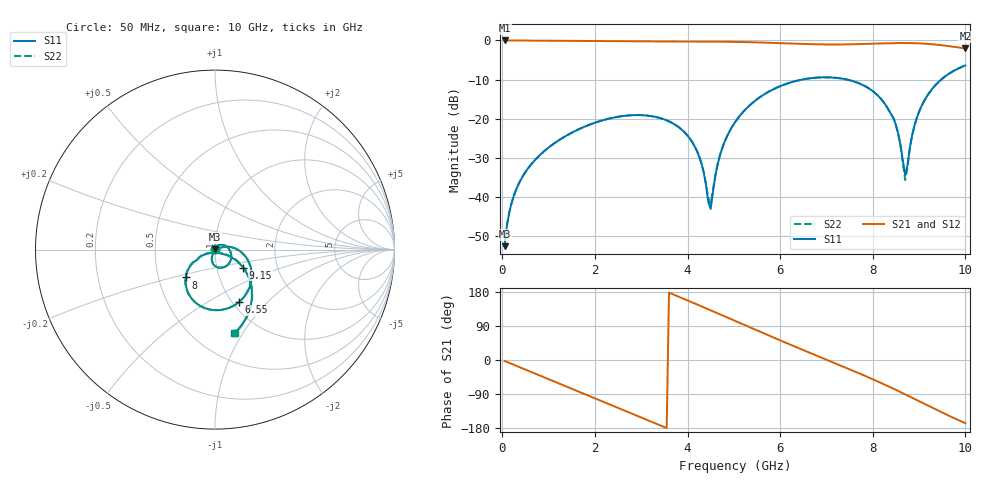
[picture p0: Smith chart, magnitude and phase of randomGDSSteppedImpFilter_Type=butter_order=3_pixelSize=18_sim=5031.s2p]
! freq	dB(S11)	phase(S11)	dB(S12)	phase(S12)
!  dB(S21)	phase(S21)	dB(S22)	phase(S22)
!S-par simulation data
#  GHz  S  DB  R 50
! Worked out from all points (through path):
!   200 points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, 50 MHz to 10 GHz, reference 50 ohm
!   highest |S21| = 0.00 dB at 50 MHz (marker M1); lowest = -2.0 dB at 10 GHz (marker M2)
!   group delay of S21, straight-line fit = 145 ps
!   lowest |S11| = -52.6 dB at 50 MHz (marker M3), VSWR 1.00, Z = 50.1 + j0.227 ohm
!   |S11| at or under -10 dB: start of sweep to 6.478 GHz; 7.441 GHz to 9.479 GHz (2.038 GHz wide, 24.1 % of centre)
!   |S22| runs from -52.6 to -6.4 dB; largest |S21 - S12| = 0
!   S11 on the Smith chart (normalised r, x): 50 MHz: 1.00, +0.00; 6.55 GHz: 1.07, -0.70; 8 GHz: 0.69, -0.23; 9.15 GHz: 1.34, -0.28; 10 GHz: 0.76, -0.92
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0.05  -52.60 75.6  -0.00 -2.6  -0.00 -2.6  -52.59 75.9
0.2  -41.59 75.9  -0.02 -10.2  -0.02 -10.2  -41.59 75.9
0.5  -33.64 63.8  -0.04 -25.3  -0.04 -25.3  -33.65 63.8
1.15  -26.08 32.5  -0.08 -58.1  -0.08 -58.1  -26.08 32.6
1.75  -22.19 2.6  -0.13 -88.4  -0.13 -88.4  -22.19 2.8
2.5  -19.51 -35.0  -0.20 -126.3  -0.20 -126.3  -19.51 -34.7
3.4  -19.82 -79.5  -0.26 -172.0  -0.26 -172.0  -19.81 -79.1
4.15  -26.99 -112.8  -0.28 149.4  -0.28 149.4  -26.95 -111.4
4.5  -43.08 -32.7  -0.29 131.1  -0.29 131.1  -41.74 -35.3
4.7  -29.39 19.2  -0.31 120.6  -0.31 120.6  -29.33 17.0
5.05  -20.50 8.2  -0.37 102.0  -0.37 102.0  -20.50 7.3
5.7  -13.46 -23.4  -0.57 67.5  -0.57 67.5  -13.46 -23.9
6.55  -9.84 -65.8  -0.92 23.6  -0.92 23.6  -9.85 -66.1
6.7  -9.60 -73.1  -0.97 16.0  -0.97 16.0  -9.60 -73.5
7.35  -9.79 -104.7  -1.02 -16.7  -1.02 -16.7  -9.79 -105.1
8  -12.96 -136.3  -0.83 -50.8  -0.83 -50.8  -12.97 -136.9
8.35  -17.94 -150.2  -0.73 -70.4  -0.73 -70.4  -17.97 -151.3
8.55  -23.88 -154.5  -0.66 -81.7  -0.66 -81.7  -23.99 -156.8
8.7  -34.42 -97.4  -0.65 -90.7  -0.65 -90.7  -35.68 -98.2
8.9  -21.77 -25.1  -0.69 -102.7  -0.69 -102.7  -21.82 -23.2
9.15  -14.64 -32.6  -0.85 -117.9  -0.85 -117.9  -14.65 -31.7
10  -6.40 -77.1  -2.04 -166.7  -2.04 -166.7  -6.40 -76.8
